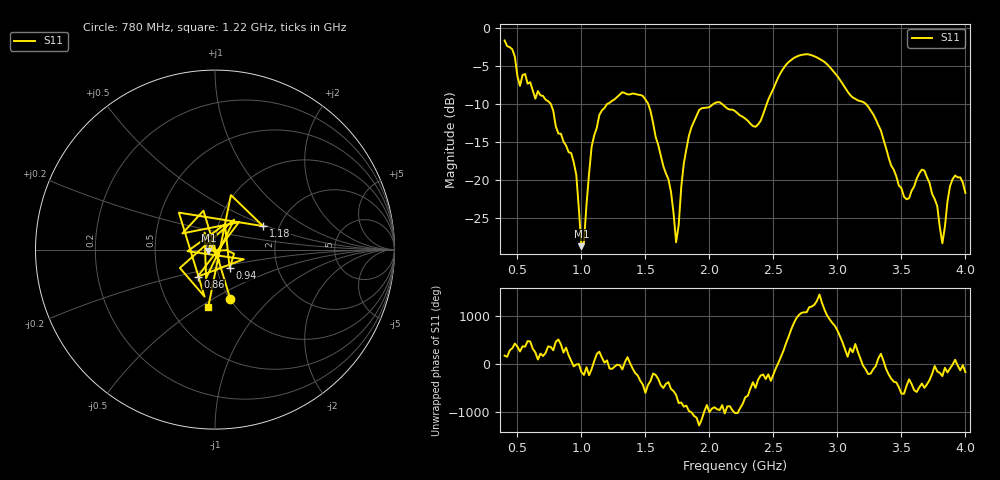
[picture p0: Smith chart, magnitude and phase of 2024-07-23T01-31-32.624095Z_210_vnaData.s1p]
!Created with skrf (http://scikit-rf.org).
# Hz S RI R 50.0
!freq ReS11 ImS11
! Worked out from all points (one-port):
!   181 points, 400 MHz to 4 GHz, reference 50 ohm
!   lowest |S11| = -28.6 dB at 1 GHz (marker M1), VSWR 1.08, Z = 46.5 - j0.621 ohm
!   |S11| at or under -10 dB: 761.2 MHz to 1.2 GHz (438.3 MHz wide, 44.7 % of centre); 1.522 GHz to 2.03 GHz (507.4 MHz wide, 28.6 % of centre); 3.224 GHz to end of sweep (the widest 3 of 4)
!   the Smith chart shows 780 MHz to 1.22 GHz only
!   S11 on the Smith chart (normalised r, x): 780 MHz: 1.01, -0.60; 860 MHz: 0.79, -0.25; 940 MHz: 1.15, -0.24; 1.18 GHz: 1.65, +0.47; 1.22 GHz: 0.76, -0.54
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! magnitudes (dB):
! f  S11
! 400 MHz  -1.6
! 520 MHz  -7.6
! 780 MHz  -10.9
! 860 MHz  -14.9
! 940 MHz  -17.6
! 1 GHz  -28.6
! 1.02 GHz  -28.1
! 1.08 GHz  -15.6
! 1.18 GHz  -10.5
! 1.22 GHz  -9.8
! 1.3 GHz  -8.7
! 1.52 GHz  -9.9
! 1.68 GHz  -19.9
! 1.74 GHz  -28.1
! 1.76 GHz  -25.9
! 1.8 GHz  -17.8
! 1.92 GHz  -10.8
! 2.2 GHz  -10.9
! 2.36 GHz  -13.0
! 2.66 GHz  -3.9
! 3.1 GHz  -8.8
! 3.28 GHz  -11.3
! 3.56 GHz  -22.3
! 3.68 GHz  -18.7
! 3.78 GHz  -23.4
! 3.82 GHz  -28.3
! 3.9 GHz  -19.8
! 4 GHz  -21.7
